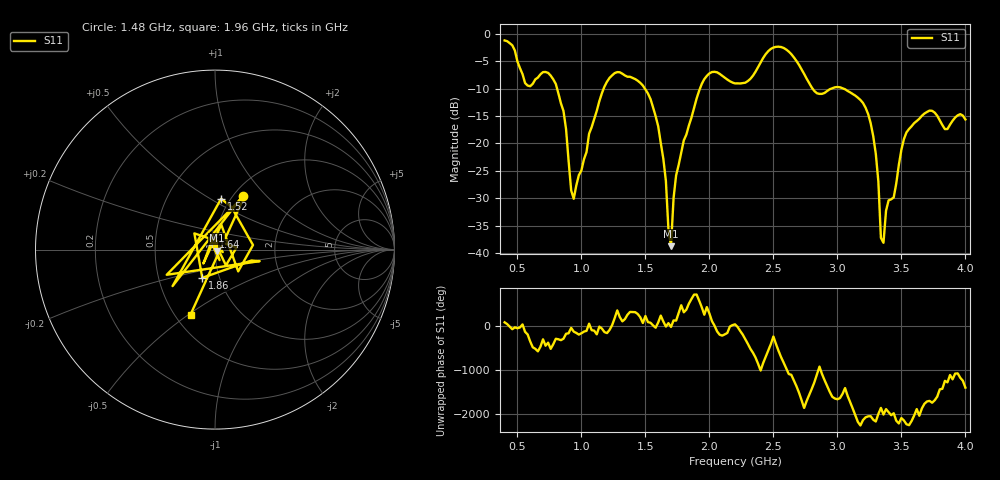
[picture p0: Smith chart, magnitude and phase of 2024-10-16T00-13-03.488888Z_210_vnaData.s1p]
! Created with skrf (http://scikit-rf.org).
# Hz S RI R 50.0
!freq ReS11 ImS11
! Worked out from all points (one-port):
!   181 points, 400 MHz to 4 GHz, reference 50 ohm
!   lowest |S11| = -38.8 dB at 1.7 GHz (marker M1), VSWR 1.02, Z = 51 - j0.524 ohm
!   |S11| at or under -10 dB: 810.3 MHz to 1.174 GHz (363.3 MHz wide, 36.6 % of centre); 1.497 GHz to 1.926 GHz (429.3 MHz wide, 25.1 % of centre); 3.049 GHz to end of sweep (the widest 3 of 4)
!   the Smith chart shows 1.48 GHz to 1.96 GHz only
!   S11 on the Smith chart (normalised r, x): 1.48 GHz: 1.10, +0.75; 1.52 GHz: 0.91, +0.56; 1.64 GHz: 0.97, +0.14; 1.86 GHz: 0.83, -0.27; 1.96 GHz: 0.60, -0.51
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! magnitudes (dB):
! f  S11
! 400 MHz  -1.2
! 580 MHz  -9.4
! 760 MHz  -7.6
! 860 MHz  -14.1
! 940 MHz  -30.1
! 1.16 GHz  -10.8
! 1.3 GHz  -7.0
! 1.48 GHz  -9.4
! 1.52 GHz  -10.9
! 1.64 GHz  -22.8
! 1.7 GHz  -38.8
! 1.72 GHz  -30.0
! 1.76 GHz  -23.9
! 1.86 GHz  -15.3
! 1.96 GHz  -8.3
! 2.2 GHz  -9.0
! 2.5 GHz  -2.5
! 2.66 GHz  -4.3
! 2.84 GHz  -10.8
! 3.1 GHz  -10.7
! 3.26 GHz  -16.3
! 3.32 GHz  -27.0
! 3.34 GHz  -37.3
! 3.36 GHz  -38.2
! 3.38 GHz  -32.3
! 3.56 GHz  -17.4
! 3.72 GHz  -14.0
! 4 GHz  -15.6
